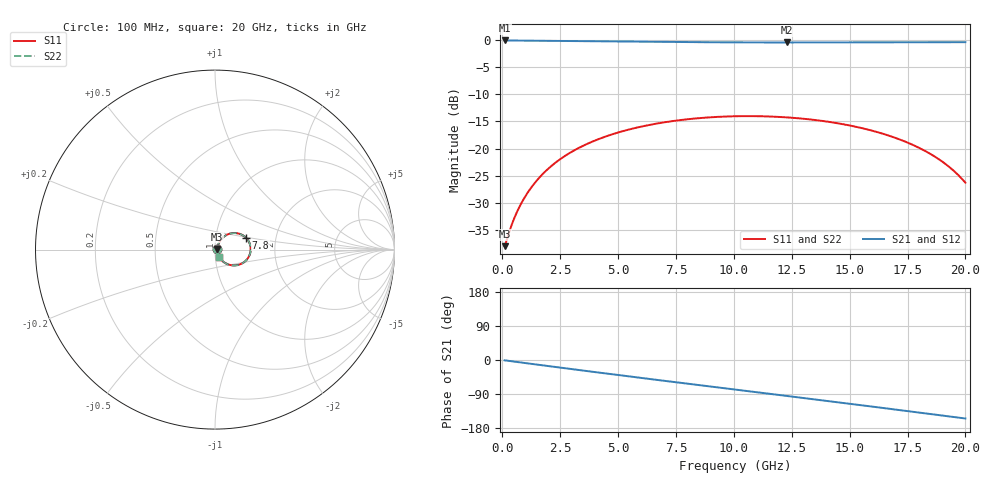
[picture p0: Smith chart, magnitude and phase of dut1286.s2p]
! Touchstone file exported from HFSS 2026.1.0
!  File:  C:/ffzhzh/LocalFiles/Ansys_Project_Files/temp_train_TSV_RDL_1286_1783331203_5512.aedt
!  Generated:  05:53:21 PM Jul  6, 2026
!  Design:  TSV_RDL
!  Project:  temp_train_TSV_RDL_1286_1783331203_5512
! Variables:
!  h_bsmrdl = 4.02um
!  h_ox = 20um
!  h_rdl = 5um
!  h_sub = 67.81um
!  h_tmrdl = 5.86um
!  h_tsv = 67.81um
!  h_via = 3um
!  l_bsmrdl = 305.68um
!  l_sub = 2229.98um
!  l_tmrdl = 207.94um
!  m_sub = 200um
!  pitch = 29.65um
!  r_tsv = 12.09um
!  s_tmrdl = 10um
!  w_bsmrdl = 10.54um
!  w_sub = 500um
!  w_tmrdl = 16.52um
!  x_tsv_center1 = 216.2um
!  x_tsv_center2 = 532.42um
!  x_tsv_center3 = 756.88um
!  x_tsv_center4 = 1073.1um
!  x_tsv_center5 = 1297.56um
!  x_tsv_center6 = 1613.78um
# GHz S MA R 50.000000
! Terminal data exported
! Port[1] = TM_RDL1_1_T1
! Port[2] = TM_RDL5_1_T1
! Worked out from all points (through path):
!   200 points, 100 MHz to 20 GHz, reference 50 ohm
!   highest |S21| = -0.11 dB at 100 MHz (marker M1); lowest = -0.5 dB at 12.3 GHz (marker M2)
!   group delay of S21, straight-line fit = 21.2 ps
!   lowest |S11| = -38.0 dB at 100 MHz (marker M3), VSWR 1.03, Z = 51.2 + j0.385 ohm
!   |S11| at or under -10 dB: start of sweep to end of sweep
!   |S22| runs from -38.0 to -14.0 dB; largest |S21 - S12| = 2.7e-13
!   S11 on the Smith chart (normalised r, x): 100 MHz: 1.02, +0.01; 7.8 GHz: 1.40, +0.19; 20 GHz: 1.04, -0.09
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0.1  0.01264 17.3  0.988 -0.8  0.988 -0.8  0.01264 17.3
! Gamma 0 0 0 0
! Port Impedance 50 0 50 0
0.4  0.0197 43.9  0.9865 -3.3  0.9865 -3.3  0.0197 43.9
0.7  0.02792 53.4  0.9854 -5.7  0.9854 -5.7  0.02792 53.4
1  0.03648 57.6  0.9845 -8.1  0.9845 -8.1  0.03648 57.6
1.4  0.04818 59.6  0.9832 -11.3  0.9832 -11.3  0.04818 59.6
1.8  0.0599 59.4  0.9817 -14.5  0.9817 -14.5  0.0599 59.4
2.3  0.07425 57.8  0.9796 -18.5  0.9796 -18.5  0.07425 57.8
3.5  0.1063 51.2  0.9739 -28.0  0.9739 -28.0  0.1063 51.1
5  0.1405 41.1  0.9664 -39.6  0.9664 -39.6  0.1405 41.1
6.8  0.1717 28.5  0.9581 -53.4  0.9581 -53.4  0.1717 28.5
7.8  0.184 21.4  0.9544 -61.0  0.9544 -61.0  0.184 21.4
9  0.194 12.9  0.9508 -70.1  0.9508 -70.1  0.194 12.9
10.1  0.1984 5.0  0.9485 -78.4  0.9485 -78.4  0.1984 5.0
11.2  0.1982 -2.8  0.9472 -86.6  0.9472 -86.6  0.1983 -2.8
12.3  0.1935 -10.6  0.9468 -94.9  0.9468 -94.9  0.1936 -10.7
13.4  0.1843 -18.5  0.9472 -103.3  0.9472 -103.3  0.1843 -18.5
15  0.1631 -29.9  0.9487 -115.5  0.9487 -115.5  0.1632 -30.0
16.7  0.1314 -41.9  0.9508 -128.6  0.9508 -128.6  0.1314 -42.0
17.7  0.1088 -48.8  0.9519 -136.3  0.9519 -136.3  0.1089 -48.9
18.6  0.08638 -54.6  0.9525 -143.4  0.9525 -143.4  0.08643 -54.7
19.4  0.06509 -59.1  0.9527 -149.7  0.9527 -149.7  0.06513 -59.3
20  0.04849 -61.5  0.9526 -154.4  0.9526 -154.4  0.04852 -61.7
